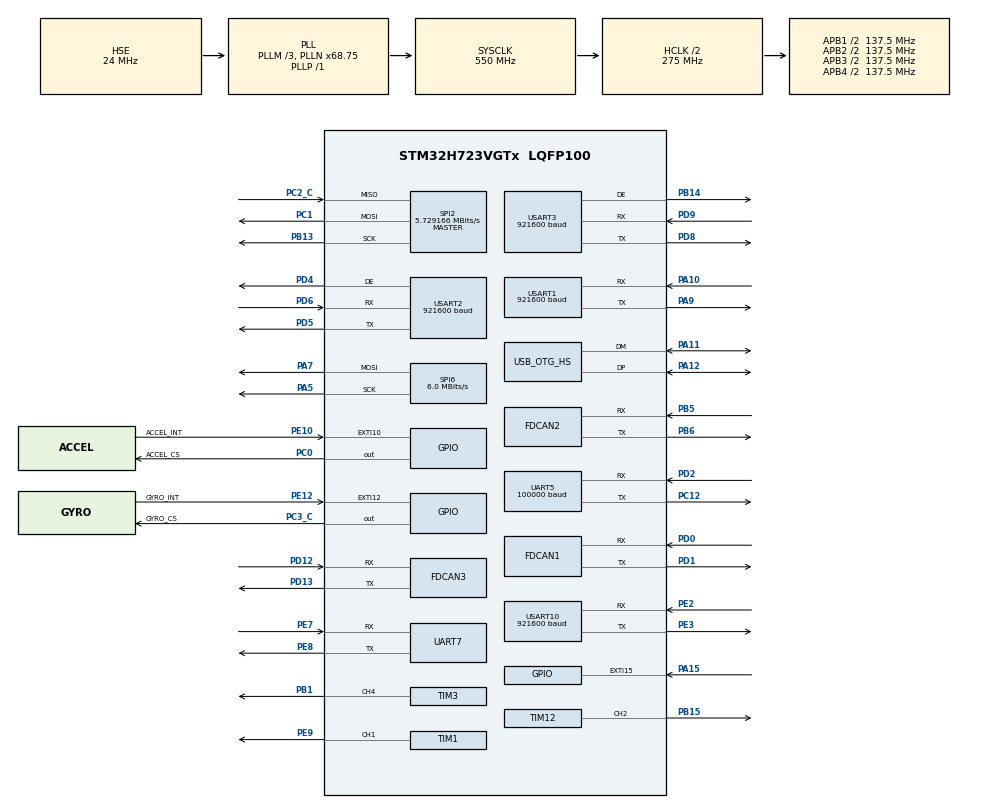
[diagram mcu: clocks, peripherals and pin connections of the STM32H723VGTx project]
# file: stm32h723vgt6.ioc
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CORTEX_M7.AccessPermission_S-Cortex_Memory_Protection_Unit_Region1_Settings_S=MPU_REGION_FULL_ACCESS
CORTEX_M7.AccessPermission_S-Cortex_Memory_Protection_Unit_Region2_Settings_S=MPU_REGION_FULL_ACCESS
CORTEX_M7.AccessPermission_S-Cortex_Memory_Protection_Unit_Region3_Settings_S=MPU_REGION_FULL_ACCESS
CORTEX_M7.AccessPermission_Spec=MPU_REGION_FULL_ACCESS
CORTEX_M7.BaseAddress_S-Cortex_Memory_Protection_Unit_Region1_Settings_S=0x24040000
CORTEX_M7.BaseAddress_S-Cortex_Memory_Protection_Unit_Region2_Settings_S=0x30000000
CORTEX_M7.BaseAddress_S-Cortex_Memory_Protection_Unit_Region3_Settings_S=0x38000000
CORTEX_M7.BaseAddress_Spec=0x24000000
CORTEX_M7.CPU_DCache=Enabled
CORTEX_M7.CPU_ICache=Enabled
CORTEX_M7.DisableExec_S-Cortex_Memory_Protection_Unit_Region1_Settings_S=MPU_INSTRUCTION_ACCESS_DISABLE
CORTEX_M7.DisableExec_S-Cortex_Memory_Protection_Unit_Region2_Settings_S=MPU_INSTRUCTION_ACCESS_DISABLE
CORTEX_M7.DisableExec_S-Cortex_Memory_Protection_Unit_Region3_Settings_S=MPU_INSTRUCTION_ACCESS_DISABLE
CORTEX_M7.DisableExec_Spec=MPU_INSTRUCTION_ACCESS_DISABLE
CORTEX_M7.Enable_S-Cortex_Memory_Protection_Unit_Region1_Settings_S=MPU_REGION_ENABLE
CORTEX_M7.Enable_S-Cortex_Memory_Protection_Unit_Region2_Settings_S=MPU_REGION_ENABLE
CORTEX_M7.Enable_S-Cortex_Memory_Protection_Unit_Region3_Settings_S=MPU_REGION_ENABLE
CORTEX_M7.IsBufferable_S-Cortex_Memory_Protection_Unit_Region1_Settings_S=MPU_ACCESS_BUFFERABLE
CORTEX_M7.IsBufferable_Spec=MPU_ACCESS_NOT_BUFFERABLE
CORTEX_M7.IsCacheable_S-Cortex_Memory_Protection_Unit_Region1_Settings_S=MPU_ACCESS_CACHEABLE
CORTEX_M7.IsCacheable_Spec=MPU_ACCESS_NOT_CACHEABLE
CORTEX_M7.IsShareable_Spec=MPU_ACCESS_NOT_SHAREABLE
CORTEX_M7.Size_S-Cortex_Memory_Protection_Unit_Region1_Settings_S=MPU_REGION_SIZE_64KB
CORTEX_M7.Size_S-Cortex_Memory_Protection_Unit_Region2_Settings_S=MPU_REGION_SIZE_32KB
CORTEX_M7.Size_S-Cortex_Memory_Protection_Unit_Region3_Settings_S=MPU_REGION_SIZE_16KB
CORTEX_M7.Size_Spec=MPU_REGION_SIZE_256KB
CORTEX_M7.SubRegionDisable_Spec=0x0
CORTEX_M7.TypeExtField_S-Cortex_Memory_Protection_Unit_Region1_Settings_S=MPU_TEX_LEVEL1
CORTEX_M7.TypeExtField_S-Cortex_Memory_Protection_Unit_Region2_Settings_S=MPU_TEX_LEVEL1
CORTEX_M7.TypeExtField_S-Cortex_Memory_Protection_Unit_Region3_Settings_S=MPU_TEX_LEVEL1
CORTEX_M7.TypeExtField_Spec=MPU_TEX_LEVEL1
CORTEX_M7.default_mode_Activation=1
Dma.Request0=UART7_RX
Dma.Request1=UART7_TX
Dma.Request10=USART3_RX
Dma.Request11=USART3_TX
Dma.Request2=UART5_RX
Dma.Request3=USART1_RX
Dma.Request4=USART1_TX
Dma.Request5=SPI2_RX
Dma.Request6=SPI2_TX
Dma.Request7=USART10_TX
Dma.Request8=USART2_RX
Dma.Request9=USART2_TX
Dma.SPI2_RX.5.Direction=DMA_PERIPH_TO_MEMORY
Dma.SPI2_RX.5.EventEnable=DISABLE
Dma.SPI2_RX.5.FIFOMode=DMA_FIFOMODE_DISABLE
Dma.SPI2_RX.5.Instance=DMA1_Stream4
Dma.SPI2_RX.5.MemDataAlignment=DMA_MDATAALIGN_BYTE
Dma.SPI2_RX.5.MemInc=DMA_MINC_ENABLE
Dma.SPI2_RX.5.Mode=DMA_NORMAL
Dma.SPI2_RX.5.PeriphDataAlignment=DMA_PDATAALIGN_BYTE
Dma.SPI2_RX.5.PeriphInc=DMA_PINC_DISABLE
Dma.SPI2_RX.5.Polarity=HAL_DMAMUX_REQ_GEN_RISING
Dma.SPI2_RX.5.Priority=DMA_PRIORITY_LOW
Dma.SPI2_RX.5.RequestNumber=1
Dma.SPI2_RX.5.SignalID=NONE
Dma.SPI2_RX.5.SyncEnable=DISABLE
Dma.SPI2_RX.5.SyncPolarity=HAL_DMAMUX_SYNC_NO_EVENT
Dma.SPI2_RX.5.SyncRequestNumber=1
Dma.SPI2_RX.5.SyncSignalID=NONE
Dma.SPI2_TX.6.Direction=DMA_MEMORY_TO_PERIPH
Dma.SPI2_TX.6.EventEnable=DISABLE
Dma.SPI2_TX.6.FIFOMode=DMA_FIFOMODE_DISABLE
Dma.SPI2_TX.6.Instance=DMA1_Stream5
Dma.SPI2_TX.6.MemDataAlignment=DMA_MDATAALIGN_BYTE
Dma.SPI2_TX.6.MemInc=DMA_MINC_ENABLE
Dma.SPI2_TX.6.Mode=DMA_NORMAL
Dma.SPI2_TX.6.PeriphDataAlignment=DMA_PDATAALIGN_BYTE
Dma.SPI2_TX.6.PeriphInc=DMA_PINC_DISABLE
Dma.SPI2_TX.6.Polarity=HAL_DMAMUX_REQ_GEN_RISING
Dma.SPI2_TX.6.Priority=DMA_PRIORITY_LOW
Dma.SPI2_TX.6.RequestNumber=1
Dma.SPI2_TX.6.SignalID=NONE
Dma.SPI2_TX.6.SyncEnable=DISABLE
Dma.SPI2_TX.6.SyncPolarity=HAL_DMAMUX_SYNC_NO_EVENT
Dma.SPI2_TX.6.SyncRequestNumber=1
Dma.SPI2_TX.6.SyncSignalID=NONE
Dma.UART5_RX.2.Direction=DMA_PERIPH_TO_MEMORY
Dma.UART5_RX.2.EventEnable=DISABLE
Dma.UART5_RX.2.FIFOMode=DMA_FIFOMODE_DISABLE
Dma.UART5_RX.2.Instance=DMA1_Stream0
Dma.UART5_RX.2.MemDataAlignment=DMA_MDATAALIGN_BYTE
Dma.UART5_RX.2.MemInc=DMA_MINC_ENABLE
Dma.UART5_RX.2.Mode=DMA_NORMAL
Dma.UART5_RX.2.PeriphDataAlignment=DMA_PDATAALIGN_BYTE
Dma.UART5_RX.2.PeriphInc=DMA_PINC_DISABLE
Dma.UART5_RX.2.Polarity=HAL_DMAMUX_REQ_GEN_RISING
Dma.UART5_RX.2.Priority=DMA_PRIORITY_HIGH
Dma.UART5_RX.2.RequestNumber=1
Dma.UART5_RX.2.SignalID=NONE
Dma.UART5_RX.2.SyncEnable=DISABLE
Dma.UART5_RX.2.SyncPolarity=HAL_DMAMUX_SYNC_NO_EVENT
Dma.UART5_RX.2.SyncRequestNumber=1
Dma.UART5_RX.2.SyncSignalID=NONE
Dma.UART7_RX.0.Direction=DMA_PERIPH_TO_MEMORY
Dma.UART7_RX.0.EventEnable=DISABLE
Dma.UART7_RX.0.FIFOMode=DMA_FIFOMODE_DISABLE
Dma.UART7_RX.0.Instance=DMA1_Stream1
Dma.UART7_RX.0.MemDataAlignment=DMA_MDATAALIGN_BYTE
Dma.UART7_RX.0.MemInc=DMA_MINC_ENABLE
Dma.UART7_RX.0.Mode=DMA_CIRCULAR
Dma.UART7_RX.0.PeriphDataAlignment=DMA_PDATAALIGN_BYTE
Dma.UART7_RX.0.PeriphInc=DMA_PINC_DISABLE
Dma.UART7_RX.0.Polarity=HAL_DMAMUX_REQ_GEN_RISING
Dma.UART7_RX.0.Priority=DMA_PRIORITY_HIGH
Dma.UART7_RX.0.RequestNumber=1
Dma.UART7_RX.0.SignalID=NONE
Dma.UART7_RX.0.SyncEnable=DISABLE
Dma.UART7_RX.0.SyncPolarity=HAL_DMAMUX_SYNC_NO_EVENT
Dma.UART7_RX.0.SyncRequestNumber=1
Dma.UART7_RX.0.SyncSignalID=NONE
Dma.UART7_TX.1.Direction=DMA_MEMORY_TO_PERIPH
Dma.UART7_TX.1.EventEnable=DISABLE
Dma.UART7_TX.1.FIFOMode=DMA_FIFOMODE_DISABLE
Dma.UART7_TX.1.Instance=DMA2_Stream0
Dma.UART7_TX.1.MemDataAlignment=DMA_MDATAALIGN_BYTE
Dma.UART7_TX.1.MemInc=DMA_MINC_ENABLE
Dma.UART7_TX.1.Mode=DMA_NORMAL
Dma.UART7_TX.1.PeriphDataAlignment=DMA_PDATAALIGN_BYTE
Dma.UART7_TX.1.PeriphInc=DMA_PINC_DISABLE
Dma.UART7_TX.1.Polarity=HAL_DMAMUX_REQ_GEN_RISING
Dma.UART7_TX.1.Priority=DMA_PRIORITY_LOW
Dma.UART7_TX.1.RequestNumber=1
Dma.UART7_TX.1.SignalID=NONE
Dma.UART7_TX.1.SyncEnable=DISABLE
Dma.UART7_TX.1.SyncPolarity=HAL_DMAMUX_SYNC_NO_EVENT
Dma.UART7_TX.1.SyncRequestNumber=1
Dma.UART7_TX.1.SyncSignalID=NONE
Dma.USART10_TX.7.Direction=DMA_MEMORY_TO_PERIPH
Dma.USART10_TX.7.EventEnable=DISABLE
Dma.USART10_TX.7.FIFOMode=DMA_FIFOMODE_DISABLE
Dma.USART10_TX.7.Instance=DMA1_Stream6
Dma.USART10_TX.7.MemDataAlignment=DMA_MDATAALIGN_BYTE
Dma.USART10_TX.7.MemInc=DMA_MINC_ENABLE
Dma.USART10_TX.7.Mode=DMA_NORMAL
Dma.USART10_TX.7.PeriphDataAlignment=DMA_PDATAALIGN_BYTE
Dma.USART10_TX.7.PeriphInc=DMA_PINC_DISABLE
Dma.USART10_TX.7.Polarity=HAL_DMAMUX_REQ_GEN_RISING
Dma.USART10_TX.7.Priority=DMA_PRIORITY_LOW
Dma.USART10_TX.7.RequestNumber=1
Dma.USART10_TX.7.SignalID=NONE
Dma.USART10_TX.7.SyncEnable=DISABLE
Dma.USART10_TX.7.SyncPolarity=HAL_DMAMUX_SYNC_NO_EVENT
Dma.USART10_TX.7.SyncRequestNumber=1
Dma.USART10_TX.7.SyncSignalID=NONE
Dma.USART1_RX.3.Direction=DMA_PERIPH_TO_MEMORY
Dma.USART1_RX.3.EventEnable=DISABLE
Dma.USART1_RX.3.FIFOMode=DMA_FIFOMODE_DISABLE
Dma.USART1_RX.3.Instance=DMA1_Stream2
Dma.USART1_RX.3.MemDataAlignment=DMA_MDATAALIGN_BYTE
Dma.USART1_RX.3.MemInc=DMA_MINC_ENABLE
Dma.USART1_RX.3.Mode=DMA_CIRCULAR
Dma.USART1_RX.3.PeriphDataAlignment=DMA_PDATAALIGN_BYTE
Dma.USART1_RX.3.PeriphInc=DMA_PINC_DISABLE
Dma.USART1_RX.3.Polarity=HAL_DMAMUX_REQ_GEN_RISING
Dma.USART1_RX.3.Priority=DMA_PRIORITY_HIGH
Dma.USART1_RX.3.RequestNumber=1
Dma.USART1_RX.3.SignalID=NONE
Dma.USART1_RX.3.SyncEnable=DISABLE
Dma.USART1_RX.3.SyncPolarity=HAL_DMAMUX_SYNC_NO_EVENT
Dma.USART1_RX.3.SyncRequestNumber=1
Dma.USART1_RX.3.SyncSignalID=NONE
Dma.USART1_TX.4.Direction=DMA_MEMORY_TO_PERIPH
Dma.USART1_TX.4.EventEnable=DISABLE
Dma.USART1_TX.4.FIFOMode=DMA_FIFOMODE_DISABLE
Dma.USART1_TX.4.Instance=DMA1_Stream3
Dma.USART1_TX.4.MemDataAlignment=DMA_MDATAALIGN_BYTE
Dma.USART1_TX.4.MemInc=DMA_MINC_ENABLE
Dma.USART1_TX.4.Mode=DMA_NORMAL
Dma.USART1_TX.4.PeriphDataAlignment=DMA_PDATAALIGN_BYTE
Dma.USART1_TX.4.PeriphInc=DMA_PINC_DISABLE
Dma.USART1_TX.4.Polarity=HAL_DMAMUX_REQ_GEN_RISING
Dma.USART1_TX.4.Priority=DMA_PRIORITY_LOW
Dma.USART1_TX.4.RequestNumber=1
Dma.USART1_TX.4.SignalID=NONE
Dma.USART1_TX.4.SyncEnable=DISABLE
Dma.USART1_TX.4.SyncPolarity=HAL_DMAMUX_SYNC_NO_EVENT
Dma.USART1_TX.4.SyncRequestNumber=1
Dma.USART1_TX.4.SyncSignalID=NONE
Dma.USART2_RX.8.Direction=DMA_PERIPH_TO_MEMORY
Dma.USART2_RX.8.EventEnable=DISABLE
Dma.USART2_RX.8.FIFOMode=DMA_FIFOMODE_DISABLE
Dma.USART2_RX.8.Instance=DMA1_Stream7
Dma.USART2_RX.8.MemDataAlignment=DMA_MDATAALIGN_BYTE
Dma.USART2_RX.8.MemInc=DMA_MINC_ENABLE
Dma.USART2_RX.8.Mode=DMA_CIRCULAR
Dma.USART2_RX.8.PeriphDataAlignment=DMA_PDATAALIGN_BYTE
Dma.USART2_RX.8.PeriphInc=DMA_PINC_DISABLE
Dma.USART2_RX.8.Polarity=HAL_DMAMUX_REQ_GEN_RISING
Dma.USART2_RX.8.Priority=DMA_PRIORITY_HIGH
Dma.USART2_RX.8.RequestNumber=1
Dma.USART2_RX.8.SignalID=NONE
Dma.USART2_RX.8.SyncEnable=DISABLE
Dma.USART2_RX.8.SyncPolarity=HAL_DMAMUX_SYNC_NO_EVENT
Dma.USART2_RX.8.SyncRequestNumber=1
Dma.USART2_RX.8.SyncSignalID=NONE
Dma.USART2_TX.9.Direction=DMA_MEMORY_TO_PERIPH
Dma.USART2_TX.9.EventEnable=DISABLE
Dma.USART2_TX.9.FIFOMode=DMA_FIFOMODE_DISABLE
Dma.USART2_TX.9.Instance=DMA2_Stream1
Dma.USART2_TX.9.MemDataAlignment=DMA_MDATAALIGN_BYTE
Dma.USART2_TX.9.MemInc=DMA_MINC_ENABLE
Dma.USART2_TX.9.Mode=DMA_NORMAL
Dma.USART2_TX.9.PeriphDataAlignment=DMA_PDATAALIGN_BYTE
Dma.USART2_TX.9.PeriphInc=DMA_PINC_DISABLE
Dma.USART2_TX.9.Polarity=HAL_DMAMUX_REQ_GEN_RISING
Dma.USART2_TX.9.Priority=DMA_PRIORITY_LOW
Dma.USART2_TX.9.RequestNumber=1
Dma.USART2_TX.9.SignalID=NONE
Dma.USART2_TX.9.SyncEnable=DISABLE
Dma.USART2_TX.9.SyncPolarity=HAL_DMAMUX_SYNC_NO_EVENT
Dma.USART2_TX.9.SyncRequestNumber=1
Dma.USART2_TX.9.SyncSignalID=NONE
Dma.USART3_RX.10.Direction=DMA_PERIPH_TO_MEMORY
Dma.USART3_RX.10.EventEnable=DISABLE
Dma.USART3_RX.10.FIFOMode=DMA_FIFOMODE_DISABLE
Dma.USART3_RX.10.Instance=DMA2_Stream2
Dma.USART3_RX.10.MemDataAlignment=DMA_MDATAALIGN_BYTE
Dma.USART3_RX.10.MemInc=DMA_MINC_ENABLE
Dma.USART3_RX.10.Mode=DMA_CIRCULAR
Dma.USART3_RX.10.PeriphDataAlignment=DMA_PDATAALIGN_BYTE
Dma.USART3_RX.10.PeriphInc=DMA_PINC_DISABLE
Dma.USART3_RX.10.Polarity=HAL_DMAMUX_REQ_GEN_RISING
Dma.USART3_RX.10.Priority=DMA_PRIORITY_HIGH
Dma.USART3_RX.10.RequestNumber=1
Dma.USART3_RX.10.SignalID=NONE
Dma.USART3_RX.10.SyncEnable=DISABLE
Dma.USART3_RX.10.SyncPolarity=HAL_DMAMUX_SYNC_NO_EVENT
Dma.USART3_RX.10.SyncRequestNumber=1
Dma.USART3_RX.10.SyncSignalID=NONE
Dma.USART3_TX.11.Direction=DMA_MEMORY_TO_PERIPH
Dma.USART3_TX.11.EventEnable=DISABLE
Dma.USART3_TX.11.FIFOMode=DMA_FIFOMODE_DISABLE
Dma.USART3_TX.11.Instance=DMA2_Stream3
Dma.USART3_TX.11.MemDataAlignment=DMA_MDATAALIGN_BYTE
Dma.USART3_TX.11.MemInc=DMA_MINC_ENABLE
Dma.USART3_TX.11.Mode=DMA_NORMAL
Dma.USART3_TX.11.PeriphDataAlignment=DMA_PDATAALIGN_BYTE
Dma.USART3_TX.11.PeriphInc=DMA_PINC_DISABLE
Dma.USART3_TX.11.Polarity=HAL_DMAMUX_REQ_GEN_RISING
Dma.USART3_TX.11.Priority=DMA_PRIORITY_LOW
Dma.USART3_TX.11.RequestNumber=1
Dma.USART3_TX.11.SignalID=NONE
Dma.USART3_TX.11.SyncEnable=DISABLE
Dma.USART3_TX.11.SyncPolarity=HAL_DMAMUX_SYNC_NO_EVENT
Dma.USART3_TX.11.SyncRequestNumber=1
Dma.USART3_TX.11.SyncSignalID=NONE
FDCAN1.AutoRetransmission=ENABLE
FDCAN1.CalculateBaudRateNominal=1000000
FDCAN1.CalculateTimeBitNominal=1000
FDCAN1.CalculateTimeQuantumNominal=25.0
FDCAN1.DataPrescaler=3
FDCAN1.DataSyncJumpWidth=10
FDCAN1.DataTimeSeg1=29
FDCAN1.DataTimeSeg2=10
FDCAN1.FrameFormat=FDCAN_FRAME_CLASSIC
FDCAN1.NominalPrescaler=3
FDCAN1.NominalSyncJumpWidth=10
FDCAN1.NominalTimeSeg1=29
FDCAN1.NominalTimeSeg2=10
FDCAN1.ProtocolException=ENABLE
FDCAN1.RxFifo0ElmtsNbr=32
FDCAN1.RxFifo1ElmtsNbr=0
FDCAN1.StdFiltersNbr=8
FDCAN1.TxFifoQueueElmtsNbr=16
FDCAN2.AutoRetransmission=ENABLE
FDCAN2.CalculateBaudRateNominal=1000000
FDCAN2.CalculateTimeBitNominal=1000
FDCAN2.CalculateTimeQuantumNominal=25.0
FDCAN2.DataPrescaler=3
FDCAN2.DataSyncJumpWidth=10
FDCAN2.DataTimeSeg1=29
FDCAN2.DataTimeSeg2=10
FDCAN2.FrameFormat=FDCAN_FRAME_CLASSIC
FDCAN2.MessageRAMOffset=854
FDCAN2.NominalPrescaler=3
FDCAN2.NominalSyncJumpWidth=10
FDCAN2.NominalTimeSeg1=29
FDCAN2.NominalTimeSeg2=10
FDCAN2.ProtocolException=ENABLE
FDCAN2.RxFifo0ElmtsNbr=32
FDCAN2.RxFifo1ElmtsNbr=0
FDCAN2.StdFiltersNbr=8
FDCAN2.TxFifoQueueElmtsNbr=16
FDCAN3.AutoRetransmission=ENABLE
FDCAN3.CalculateBaudRateNominal=1000000
FDCAN3.CalculateTimeBitNominal=1000
FDCAN3.CalculateTimeQuantumNominal=25.0
FDCAN3.DataPrescaler=3
FDCAN3.DataSyncJumpWidth=10
FDCAN3.DataTimeSeg1=29
FDCAN3.DataTimeSeg2=10
FDCAN3.MessageRAMOffset=1708
FDCAN3.NominalPrescaler=3
FDCAN3.NominalSyncJumpWidth=10
FDCAN3.NominalTimeSeg1=29
FDCAN3.NominalTimeSeg2=10
FDCAN3.ProtocolException=ENABLE
FDCAN3.RxFifo0ElmtsNbr=32
FDCAN3.RxFifo1ElmtsNbr=0
FDCAN3.StdFiltersNbr=8
FDCAN3.TxFifoQueueElmtsNbr=16
FREERTOS.Tasks01=defaultTask,24,128,StartDefaultTask,Default,NULL,Dynamic,NULL,NULL
FREERTOS.configCHECK_FOR_STACK_OVERFLOW=2
FREERTOS.configUSE_IDLE_HOOK=1
FREERTOS.configUSE_MALLOC_FAILED_HOOK=1
FREERTOS.configUSE_PREEMPTION=1
FREERTOS.configUSE_TICK_HOOK=1
Mcu.Family=STM32H7
Mcu.Name=STM32H723VGTx
Mcu.Package=LQFP100
NVIC.DMA1_Stream0_IRQn=true\:6\:0\:true\:false\:true\:true\:false\:true\:true
NVIC.DMA1_Stream1_IRQn=true\:6\:0\:true\:false\:true\:true\:false\:true\:true
NVIC.DMA1_Stream2_IRQn=true\:6\:0\:true\:false\:true\:true\:false\:true\:true
NVIC.DMA1_Stream3_IRQn=true\:6\:0\:true\:false\:true\:true\:false\:true\:true
NVIC.DMA1_Stream4_IRQn=true\:5\:0\:true\:false\:true\:true\:false\:true\:true
NVIC.DMA1_Stream5_IRQn=true\:5\:0\:true\:false\:true\:true\:false\:true\:true
NVIC.DMA1_Stream6_IRQn=true\:6\:0\:true\:false\:true\:true\:false\:true\:true
NVIC.DMA1_Stream7_IRQn=true\:6\:0\:true\:false\:true\:true\:false\:true\:true
NVIC.DMA2_Stream0_IRQn=true\:6\:0\:true\:false\:true\:true\:false\:true\:true
NVIC.DMA2_Stream1_IRQn=true\:6\:0\:true\:false\:true\:true\:false\:true\:true
NVIC.DMA2_Stream2_IRQn=true\:6\:0\:true\:false\:true\:true\:false\:true\:true
NVIC.DMA2_Stream3_IRQn=true\:6\:0\:true\:false\:true\:true\:false\:true\:true
NVIC.EXTI15_10_IRQn=true\:5\:0\:false\:false\:true\:true\:true\:true\:true
NVIC.FDCAN1_IT0_IRQn=true\:5\:0\:false\:false\:true\:true\:true\:true\:true
NVIC.FDCAN1_IT1_IRQn=true\:5\:0\:false\:false\:true\:true\:true\:true\:true
NVIC.FDCAN2_IT0_IRQn=true\:5\:0\:false\:false\:true\:true\:true\:true\:true
NVIC.FDCAN2_IT1_IRQn=true\:5\:0\:false\:false\:true\:true\:true\:true\:true
NVIC.FDCAN3_IT0_IRQn=true\:5\:0\:false\:false\:true\:true\:true\:true\:true
NVIC.FDCAN3_IT1_IRQn=true\:5\:0\:false\:false\:true\:true\:true\:true\:true
NVIC.OTG_HS_IRQn=true\:7\:0\:true\:false\:true\:true\:false\:true\:true
NVIC.PriorityGroup=NVIC_PRIORITYGROUP_4
NVIC.SPI2_IRQn=true\:5\:0\:false\:false\:true\:true\:true\:true\:true
NVIC.TIM7_IRQn=true\:15\:0\:false\:false\:true\:false\:false\:true\:true
NVIC.TimeBase=TIM7_IRQn
NVIC.TimeBaseIP=TIM7
NVIC.UART5_IRQn=true\:6\:0\:true\:false\:true\:true\:true\:true\:true
NVIC.UART7_IRQn=true\:6\:0\:true\:false\:true\:true\:true\:true\:true
NVIC.USART10_IRQn=true\:6\:0\:true\:false\:true\:true\:true\:true\:true
NVIC.USART1_IRQn=true\:6\:0\:true\:false\:true\:true\:true\:true\:true
NVIC.USART2_IRQn=true\:6\:0\:true\:false\:true\:true\:true\:true\:true
NVIC.USART3_IRQn=true\:6\:0\:true\:false\:true\:true\:true\:true\:true
PA10.Mode=Asynchronous
PA10.Signal=USART1_RX
PA11.Mode=Device_Only_FS
PA11.Signal=USB_OTG_HS_DM
PA12.Mode=Device_Only_FS
PA12.Signal=USB_OTG_HS_DP
PA13(JTMS/SWDIO).Mode=Serial_Wire
PA13(JTMS/SWDIO).Signal=DEBUG_JTMS-SWDIO
PA14(JTCK/SWCLK).Mode=Serial_Wire
PA14(JTCK/SWCLK).Signal=DEBUG_JTCK-SWCLK
PA15(JTDI).Signal=GPXTI15
PA5.Mode=TX_Only_Simplex_Unidirect_Master
PA5.Signal=SPI6_SCK
PA7.Mode=TX_Only_Simplex_Unidirect_Master
PA7.Signal=SPI6_MOSI
PA9.Mode=Asynchronous
PA9.Signal=USART1_TX
PB1.Signal=S_TIM3_CH4
PB13.Mode=Full_Duplex_Master
PB13.Signal=SPI2_SCK
PB14.Mode=Hardware Flow Control (RS485)
PB14.Signal=USART3_DE
PB15.Signal=S_TIM12_CH2
PB5.GPIO_Speed=GPIO_SPEED_FREQ_HIGH
PB5.Mode=FDCAN_Activate
PB5.Signal=FDCAN2_RX
PB6.GPIO_Speed=GPIO_SPEED_FREQ_HIGH
PB6.Mode=FDCAN_Activate
PB6.Signal=FDCAN2_TX
PC0.GPIO_Label=ACCEL_CS
PC0.GPIO_Speed=GPIO_SPEED_FREQ_HIGH
PC0.PinState=GPIO_PIN_SET
PC0.Signal=GPIO_Output
PC1.Mode=Full_Duplex_Master
PC1.Signal=SPI2_MOSI
PC12.Mode=Asynchronous
PC12.Signal=UART5_TX
PC14-OSC32_IN.Mode=LSE-External-Oscillator
PC14-OSC32_IN.Signal=RCC_OSC32_IN
PC15-OSC32_OUT.Mode=LSE-External-Oscillator
PC15-OSC32_OUT.Signal=RCC_OSC32_OUT
PC2_C.Mode=Full_Duplex_Master
PC2_C.Signal=SPI2_MISO
PC3_C.GPIO_Label=GYRO_CS
PC3_C.GPIO_Speed=GPIO_SPEED_FREQ_HIGH
PC3_C.PinState=GPIO_PIN_SET
PC3_C.Signal=GPIO_Output
PD0.GPIO_Speed=GPIO_SPEED_FREQ_HIGH
PD0.Mode=FDCAN_Activate
PD0.Signal=FDCAN1_RX
PD1.GPIO_Speed=GPIO_SPEED_FREQ_HIGH
PD1.Mode=FDCAN_Activate
PD1.Signal=FDCAN1_TX
PD12.GPIO_Speed=GPIO_SPEED_FREQ_HIGH
PD12.Mode=FDCAN_Activate
PD12.Signal=FDCAN3_RX
PD13.GPIO_Speed=GPIO_SPEED_FREQ_HIGH
PD13.Mode=FDCAN_Activate
PD13.Signal=FDCAN3_TX
PD2.Mode=Asynchronous
PD2.Signal=UART5_RX
PD4.Mode=Hardware Flow Control (RS485)
PD4.Signal=USART2_DE
PD5.Mode=Asynchronous
PD5.Signal=USART2_TX
PD6.Mode=Asynchronous
PD6.Signal=USART2_RX
PD8.Mode=Asynchronous
PD8.Signal=USART3_TX
PD9.Mode=Asynchronous
PD9.Signal=USART3_RX
PE10.GPIO_Label=ACCEL_INT
PE10.GPIO_PuPd=GPIO_NOPULL
PE10.Signal=GPXTI10
PE12.GPIO_Label=GYRO_INT
PE12.GPIO_PuPd=GPIO_NOPULL
PE12.Signal=GPXTI12
PE2.Mode=Asynchronous
PE2.Signal=USART10_RX
PE3.Mode=Asynchronous
PE3.Signal=USART10_TX
PE7.Mode=Asynchronous
PE7.Signal=UART7_RX
PE8.Mode=Asynchronous
PE8.Signal=UART7_TX
PE9.Signal=S_TIM1_CH1
PH0-OSC_IN.Mode=HSE-External-Oscillator
PH0-OSC_IN.Signal=RCC_OSC_IN
PH1-OSC_OUT.Mode=HSE-External-Oscillator
PH1-OSC_OUT.Signal=RCC_OSC_OUT
ProjectManager.HeapSize=0x1000
ProjectManager.StackSize=0x2000
ProjectManager.TargetToolchain=Makefile
RCC.ADCFreq_Value=240000000
RCC.APB1Freq_Value=137500000
RCC.APB2Freq_Value=137500000
RCC.APB3Freq_Value=137500000
RCC.APB4Freq_Value=137500000
RCC.CortexFreq_Value=550000000
RCC.D1PPRE=RCC_APB3_DIV2
RCC.D2PPRE1=RCC_APB1_DIV2
RCC.D2PPRE2=RCC_APB2_DIV2
RCC.D3PPRE=RCC_APB4_DIV2
RCC.DIVM1=3
RCC.DIVM2=2
RCC.DIVN1=68
RCC.DIVN2=40
RCC.DIVP1=1
RCC.DIVQ1=3
RCC.DIVQ2=4
RCC.FDCANCLockSelection=RCC_FDCANCLKSOURCE_PLL2
RCC.HCLKFreq_Value=275000000
RCC.HPRE=RCC_HCLK_DIV2
RCC.HSE_VALUE=24000000
RCC.PLL2FRACN=0
RCC.PLLFRACN=6144
RCC.PLLSourceVirtual=RCC_PLLSOURCE_HSE
RCC.SPI6CLockSelection=RCC_SPI6CLKSOURCE_HSE
RCC.SYSCLKFreq_VALUE=550000000
RCC.SYSCLKSource=RCC_SYSCLKSOURCE_PLLCLK
RCC.USBCLockSelection=RCC_USBCLKSOURCE_HSI48
RCC.USBFreq_Value=48000000
SH.S_TIM12_CH2.0=TIM12_CH2,PWM Generation2 CH2
SH.S_TIM1_CH1.0=TIM1_CH1,PWM Generation1 CH1
SH.S_TIM3_CH4.0=TIM3_CH4,PWM Generation4 CH4
SPI2.BaudRatePrescaler=SPI_BAUDRATEPRESCALER_32
SPI2.CLKPhase=SPI_PHASE_2EDGE
SPI2.CLKPolarity=SPI_POLARITY_HIGH
SPI2.CalculateBaudRate=5.729166 MBits/s
SPI2.DataSize=SPI_DATASIZE_8BIT
SPI2.Direction=SPI_DIRECTION_2LINES
SPI2.Mode=SPI_MODE_MASTER
SPI2.VirtualType=VM_MASTER
SPI6.BaudRatePrescaler=SPI_BAUDRATEPRESCALER_4
SPI6.CLKPhase=SPI_PHASE_2EDGE
SPI6.CalculateBaudRate=6.0 MBits/s
SPI6.DataSize=SPI_DATASIZE_8BIT
SPI6.Direction=SPI_DIRECTION_2LINES_TXONLY
SPI6.Mode=SPI_MODE_MASTER
SPI6.VirtualType=VM_MASTER
TIM1.Channel-PWM\ Generation1\ CH1=TIM_CHANNEL_1
TIM1.Period=20000-1
TIM1.Prescaler=275-1
TIM12.Channel-PWM\ Generation2\ CH2=TIM_CHANNEL_2
TIM12.Period=2200-1
TIM12.Prescaler=25-1
TIM12.Pulse-PWM\ Generation2\ CH2=1100
TIM3.Channel-PWM\ Generation4\ CH4=TIM_CHANNEL_4
TIM3.Period=22000-1
TIM3.Prescaler=25-1
UART5.BaudRate=100000
UART5.Mode=MODE_RX
UART5.Parity=PARITY_EVEN
UART5.WordLength=WORDLENGTH_9B
USART1.BaudRate=921600
USART1.VirtualMode-Asynchronous=VM_ASYNC
USART10.BaudRate=921600
USART10.VirtualMode=VM_ASYNC
USART2.BaudRate=921600
USART2.OverSampling=UART_OVERSAMPLING_16
USART2.VirtualMode-Asynchronous=VM_ASYNC
USART2.VirtualMode-Hardware\ Flow\ Control\ (RS485)=VM_ASYNC
USART3.BaudRate=921600
USART3.VirtualMode-Asynchronous=VM_ASYNC
USART3.VirtualMode-Hardware\ Flow\ Control\ (RS485)=VM_ASYNC
USB_DEVICE.CLASS_NAME_HS=CDC
USB_DEVICE.VirtualMode=Cdc
USB_DEVICE.VirtualModeHS=Cdc_HS
USB_OTG_HS.VirtualMode-Device_Only_FS=Device_Only_FS
USB_OTG_HS.dma_enable-Device_Only_FS=DISABLE
VP_FREERTOS_VS_CMSIS_V2.Mode=CMSIS_V2
VP_MEMORYMAP_VS_MEMORYMAP.Mode=CurAppReg
VP_SYS_VS_tim7.Mode=TIM7
VP_USB_DEVICE_VS_USB_DEVICE_CDC_HS.Mode=CDC_HS
board=custom

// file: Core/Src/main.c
/* USER CODE BEGIN Header */
/**
  ******************************************************************************
  * @file           : main.c
  * @brief          : Main program body
  ******************************************************************************
  * @attention
  *
  * Copyright (c) 2026 STMicroelectronics.
  * All rights reserved.
  *
  * This software is licensed under terms that can be found in the LICENSE file
  * in the root directory of this software component.
  * If no LICENSE file comes with this software, it is provided AS-IS.
  *
  ******************************************************************************
  */
/* USER CODE END Header */
#include "main.h"
#include "FreeRTOS.h"
#include "cmsis_os2.h"
#include "dma.h"
#include "fdcan.h"
#include "spi.h"
#include "tim.h"
#include "usart.h"
#include "usb_device.h"
#include "gpio.h"

void SystemClock_Config(void);
void PeriphCommonClock_Config(void);
static void MPU_Config(void);
void MX_FREERTOS_Init(void);

int main(void)
{

  /* MPU Configuration--------------------------------------------------------*/
  MPU_Config();

  /* Enable the CPU Cache */

  /* Enable I-Cache---------------------------------------------------------*/
  SCB_EnableICache();

  /* Enable D-Cache---------------------------------------------------------*/
  SCB_EnableDCache();

  /* MCU Configuration--------------------------------------------------------*/

  /* Reset of all peripherals, Initializes the Flash interface and the Systick. */
  HAL_Init();

  /* Configure the system clock */
  SystemClock_Config();

  /* Configure the peripherals common clocks */
  PeriphCommonClock_Config();

  /* Initialize all configured peripherals */
  MX_GPIO_Init();
  MX_DMA_Init();
  MX_TIM1_Init();
  MX_UART5_Init();
  MX_UART7_Init();
  MX_USART1_UART_Init();
  MX_USART2_UART_Init();
  MX_USART10_UART_Init();
  MX_FDCAN1_Init();
  MX_FDCAN2_Init();
  MX_FDCAN3_Init();
  MX_SPI2_Init();
  MX_SPI6_Init();
  MX_TIM3_Init();
  MX_TIM12_Init();
  MX_USART3_UART_Init();

  /* Init scheduler */
  osKernelInitialize();  /* Call init function for freertos objects (in cmsis_os2.c) */
  MX_FREERTOS_Init();

  /* Start scheduler */
  osKernelStart();

  /* We should never get here as control is now taken by the scheduler */

  /* Infinite loop */
  while (1)
  {

  }
}

void SystemClock_Config(void)
{
  RCC_OscInitTypeDef RCC_OscInitStruct = {0};
  RCC_ClkInitTypeDef RCC_ClkInitStruct = {0};

  /** Supply configuration update enable
  */
  HAL_PWREx_ConfigSupply(PWR_LDO_SUPPLY);

  /** Configure the main internal regulator output voltage
  */
  __HAL_PWR_VOLTAGESCALING_CONFIG(PWR_REGULATOR_VOLTAGE_SCALE0);

  while(!__HAL_PWR_GET_FLAG(PWR_FLAG_VOSRDY)) {}

  /** Initializes the RCC Oscillators according to the specified parameters
  * in the RCC_OscInitTypeDef structure.
  */
  RCC_OscInitStruct.OscillatorType = RCC_OSCILLATORTYPE_HSI48|RCC_OSCILLATORTYPE_HSE;
  RCC_OscInitStruct.HSEState = RCC_HSE_ON;
  RCC_OscInitStruct.HSI48State = RCC_HSI48_ON;
  RCC_OscInitStruct.PLL.PLLState = RCC_PLL_ON;
  RCC_OscInitStruct.PLL.PLLSource = RCC_PLLSOURCE_HSE;
  RCC_OscInitStruct.PLL.PLLM = 3;
  RCC_OscInitStruct.PLL.PLLN = 68;
  RCC_OscInitStruct.PLL.PLLP = 1;
  RCC_OscInitStruct.PLL.PLLQ = 3;
  RCC_OscInitStruct.PLL.PLLR = 2;
  RCC_OscInitStruct.PLL.PLLRGE = RCC_PLL1VCIRANGE_3;
  RCC_OscInitStruct.PLL.PLLVCOSEL = RCC_PLL1VCOWIDE;
  RCC_OscInitStruct.PLL.PLLFRACN = 6144;
  if (HAL_RCC_OscConfig(&RCC_OscInitStruct) != HAL_OK)
  {
    Error_Handler();
  }

  /** Initializes the CPU, AHB and APB buses clocks
  */
  RCC_ClkInitStruct.ClockType = RCC_CLOCKTYPE_HCLK|RCC_CLOCKTYPE_SYSCLK
                              |RCC_CLOCKTYPE_PCLK1|RCC_CLOCKTYPE_PCLK2
                              |RCC_CLOCKTYPE_D3PCLK1|RCC_CLOCKTYPE_D1PCLK1;
  RCC_ClkInitStruct.SYSCLKSource = RCC_SYSCLKSOURCE_PLLCLK;
  RCC_ClkInitStruct.SYSCLKDivider = RCC_SYSCLK_DIV1;
  RCC_ClkInitStruct.AHBCLKDivider = RCC_HCLK_DIV2;
  RCC_ClkInitStruct.APB3CLKDivider = RCC_APB3_DIV2;
  RCC_ClkInitStruct.APB1CLKDivider = RCC_APB1_DIV2;
  RCC_ClkInitStruct.APB2CLKDivider = RCC_APB2_DIV2;
  RCC_ClkInitStruct.APB4CLKDivider = RCC_APB4_DIV2;

  if (HAL_RCC_ClockConfig(&RCC_ClkInitStruct, FLASH_LATENCY_3) != HAL_OK)
  {
    Error_Handler();
  }
}

void PeriphCommonClock_Config(void)
{
  RCC_PeriphCLKInitTypeDef PeriphClkInitStruct = {0};

  /** Initializes the peripherals clock
  */
  PeriphClkInitStruct.PeriphClockSelection = RCC_PERIPHCLK_FDCAN;
  PeriphClkInitStruct.PLL2.PLL2M = 2;
  PeriphClkInitStruct.PLL2.PLL2N = 40;
  PeriphClkInitStruct.PLL2.PLL2P = 2;
  PeriphClkInitStruct.PLL2.PLL2Q = 4;
  PeriphClkInitStruct.PLL2.PLL2R = 2;
  PeriphClkInitStruct.PLL2.PLL2RGE = RCC_PLL2VCIRANGE_3;
  PeriphClkInitStruct.PLL2.PLL2VCOSEL = RCC_PLL2VCOWIDE;
  PeriphClkInitStruct.PLL2.PLL2FRACN = 0;
  PeriphClkInitStruct.FdcanClockSelection = RCC_FDCANCLKSOURCE_PLL2;
  if (HAL_RCCEx_PeriphCLKConfig(&PeriphClkInitStruct) != HAL_OK)
  {
    Error_Handler();
  }
}

 /* MPU Configuration */

void MPU_Config(void)
{
  MPU_Region_InitTypeDef MPU_InitStruct = {0};

  /* Disables the MPU */
  HAL_MPU_Disable();

  /** Initializes and configures the Region and the memory to be protected
  */
  MPU_InitStruct.Enable = MPU_REGION_ENABLE;
  MPU_InitStruct.Number = MPU_REGION_NUMBER0;
  MPU_InitStruct.BaseAddress = 0x24000000;
  MPU_InitStruct.Size = MPU_REGION_SIZE_256KB;
  MPU_InitStruct.SubRegionDisable = 0x0;
  MPU_InitStruct.TypeExtField = MPU_TEX_LEVEL1;
  MPU_InitStruct.AccessPermission = MPU_REGION_FULL_ACCESS;
  MPU_InitStruct.DisableExec = MPU_INSTRUCTION_ACCESS_DISABLE;
  MPU_InitStruct.IsShareable = MPU_ACCESS_NOT_SHAREABLE;
  MPU_InitStruct.IsCacheable = MPU_ACCESS_NOT_CACHEABLE;
  MPU_InitStruct.IsBufferable = MPU_ACCESS_NOT_BUFFERABLE;

  HAL_MPU_ConfigRegion(&MPU_InitStruct);

  /** Initializes and configures the Region and the memory to be protected
  */
  MPU_InitStruct.Number = MPU_REGION_NUMBER1;
  MPU_InitStruct.BaseAddress = 0x24040000;
  MPU_InitStruct.Size = MPU_REGION_SIZE_64KB;
  MPU_InitStruct.IsCacheable = MPU_ACCESS_CACHEABLE;
  MPU_InitStruct.IsBufferable = MPU_ACCESS_BUFFERABLE;

  HAL_MPU_ConfigRegion(&MPU_InitStruct);

  /** Initializes and configures the Region and the memory to be protected
  */
  MPU_InitStruct.Number = MPU_REGION_NUMBER2;
  MPU_InitStruct.BaseAddress = 0x30000000;
  MPU_InitStruct.Size = MPU_REGION_SIZE_32KB;
  MPU_InitStruct.IsCacheable = MPU_ACCESS_NOT_CACHEABLE;
  MPU_InitStruct.IsBufferable = MPU_ACCESS_NOT_BUFFERABLE;

  HAL_MPU_ConfigRegion(&MPU_InitStruct);

  /** Initializes and configures the Region and the memory to be protected
  */
  MPU_InitStruct.Number = MPU_REGION_NUMBER3;
  MPU_InitStruct.BaseAddress = 0x38000000;
  MPU_InitStruct.Size = MPU_REGION_SIZE_16KB;

  HAL_MPU_ConfigRegion(&MPU_InitStruct);
  /* Enables the MPU */
  HAL_MPU_Enable(MPU_PRIVILEGED_DEFAULT);

}

void HAL_TIM_PeriodElapsedCallback(TIM_HandleTypeDef *htim)
{
  if (htim->Instance == TIM7)
  {
    HAL_IncTick();
  }
}

void Error_Handler(void)
{
  __disable_irq();
  while (1)
  {
  }
}

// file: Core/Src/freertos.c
/* USER CODE BEGIN Header */
/**
  ******************************************************************************
  * File Name          : freertos.c
  * Description        : Code for freertos applications
  ******************************************************************************
  * @attention
  *
  * Copyright (c) 2026 STMicroelectronics.
  * All rights reserved.
  *
  * This software is licensed under terms that can be found in the LICENSE file
  * in the root directory of this software component.
  * If no LICENSE file comes with this software, it is provided AS-IS.
  *
  ******************************************************************************
  */
/* USER CODE END Header */

#include "FreeRTOS.h"
#include "task.h"
#include "main.h"
#include "FreeRTOS.h"
#include "cmsis_os2.h"

/* USER CODE BEGIN Includes */
#include "component/common/framework.h"
#include "osal/osal.h"

/* USER CODE END Includes */

/* Definitions for defaultTask */
osThreadId_t defaultTaskHandle;
const osThreadAttr_t defaultTask_attributes = {
  .name = "defaultTask",
  .stack_size = 128 * 4,
  .priority = (osPriority_t) osPriorityNormal,
};

/* USER CODE BEGIN FunctionPrototypes */
static void framework_init_task(void *argument)
{
  (void)argument;
  framework_init();   /* 框架入口：分级初始化 + 创建周期任务 */
  osThreadExit();
}

/* USER CODE END FunctionPrototypes */

void StartDefaultTask(void *argument);

extern void MX_USB_DEVICE_Init(void);
void MX_FREERTOS_Init(void); /* (MISRA C 2004 rule 8.1) */

/* Hook prototypes */
void vApplicationIdleHook(void);
void vApplicationTickHook(void);
void vApplicationStackOverflowHook(xTaskHandle xTask, char *pcTaskName);
void vApplicationMallocFailedHook(void);

/* USER CODE BEGIN 2 */
void vApplicationIdleHook( void )
{
  /* 每次空闲任务循环调用，不能阻塞、不能调用带等待的 OS 接口。这里只做 CPU 占用统计（看门狗喂狗放在控制任务里，不放这里） */
  os_idle_hook();
}
/* USER CODE END 2 */

/* USER CODE BEGIN 3 */
void vApplicationTickHook( void )
{
  /* 每个 FreeRTOS tick 在中断里调用，只能用 FromISR 接口。周期任务的节拍由 HAL 时基 TIM7 驱动（bsp_tick.c），这里不需要做事 */
}
/* USER CODE END 3 */

/* USER CODE BEGIN 4 */
void vApplicationStackOverflowHook(xTaskHandle xTask, char *pcTaskName)
{
  /* configCHECK_FOR_STACK_OVERFLOW = 2 时，检测到栈溢出会调用这里；处理逻辑在 OS 抽象层 */
  (void)xTask;
  os_stack_overflow_handler((const char *)pcTaskName);
}
/* USER CODE END 4 */

/* USER CODE BEGIN 5 */
void vApplicationMallocFailedHook(void)
{
  /* pvPortMalloc 失败（FreeRTOS 动态堆 configTOTAL_HEAP_SIZE 用完）时调用；框架的任务和队列都是静态分配，走到这里说明有人用了动态创建 */
  os_malloc_failed_handler();
}
/* USER CODE END 5 */

void MX_FREERTOS_Init(void) {

  /* Create the thread(s) */
  /* creation of defaultTask */
  defaultTaskHandle = osThreadNew(StartDefaultTask, NULL, &defaultTask_attributes);

  /* USER CODE BEGIN RTOS_THREADS */
  /* add threads, ... */
  /* 不能在这里直接调 framework_init()：调度器启动前创建任务/队列会让 FreeRTOS 的临界区嵌套计数
   * 回不到 0，BASEPRI 一直停在 0x50，优先级 15 的 TIM7 时基被屏蔽，initcall 里的 HAL_Delay 永远等不到。
   * 所以起一个一次性初始化任务，调度器跑起来后再执行，跑完自删。 */
  const osThreadAttr_t init_attr = {
    .name = "frameworkInit",
    .stack_size = 3072,
    .priority = (osPriority_t) osPriorityHigh,
  };
  osThreadNew(framework_init_task, NULL, &init_attr);
  /* USER CODE END RTOS_THREADS */

}

void StartDefaultTask(void *argument)
{
  /* init code for USB_DEVICE */
  MX_USB_DEVICE_Init();
  for(;;)
  {
    osDelay(1);
  }
}
